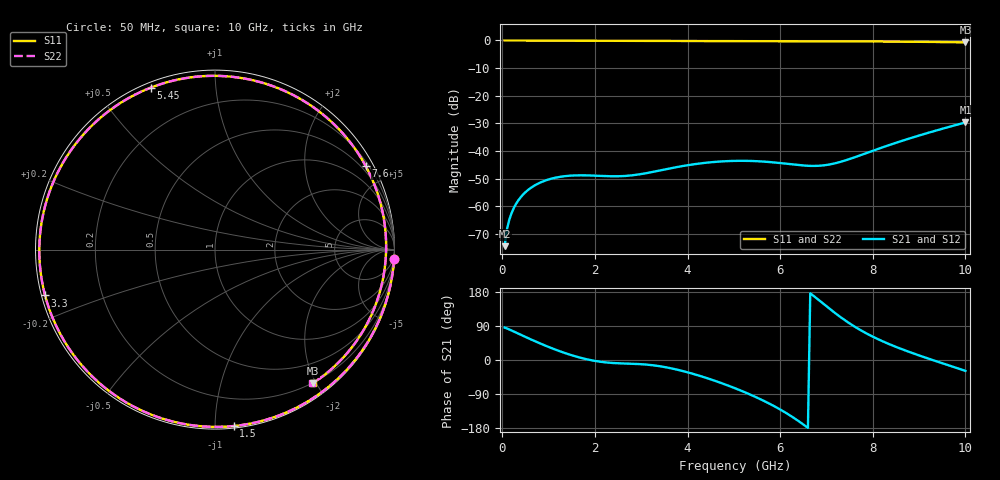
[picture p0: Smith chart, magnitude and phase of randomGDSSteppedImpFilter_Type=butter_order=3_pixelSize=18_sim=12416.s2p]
! freq	dB(S11)	phase(S11)	dB(S12)	phase(S12)
!  dB(S21)	phase(S21)	dB(S22)	phase(S22)
!S-par simulation data
#  GHz  S  DB  R 50
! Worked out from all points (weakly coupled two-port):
!   200 points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, 50 MHz to 10 GHz, reference 50 ohm
!   highest |S21| = -29.69 dB at 10 GHz (marker M1); lowest = -74.5 dB at 50 MHz (marker M2)
!   lowest |S11| = -0.7 dB at 10 GHz (marker M3), VSWR 24.80, Z = 9.77 - j97.6 ohm
!   |S11| at or under -10 dB: nowhere
!   |S22| runs from -0.7 to 0.0 dB; largest |S21 - S12| = 0
!   S11 on the Smith chart (normalised r, x): 50 MHz: 0, -40; 1.5 GHz: 0.01, -1.11; 3.3 GHz: 0.01, -0.13; 5.45 GHz: 0.02, +0.68; 7.6 GHz: 0.32, +3.84; 10 GHz: 0.20, -1.95
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0.05  -0.00 -2.9  -74.46 85.5  -74.46 85.5  -0.00 -2.9
0.1  -0.01 -5.8  -68.44 83.4  -68.44 83.4  -0.01 -5.8
0.2  -0.02 -11.7  -62.48 77.9  -62.48 77.9  -0.02 -11.7
0.45  -0.04 -26.4  -55.76 63.7  -55.76 63.7  -0.04 -26.4
0.7  -0.05 -40.8  -52.47 49.9  -52.47 49.9  -0.05 -40.8
1  -0.07 -57.5  -50.31 34.4  -50.31 34.4  -0.07 -57.5
1.5  -0.10 -84.0  -48.91 12.5  -48.91 12.5  -0.10 -84.0
1.75  -0.11 -96.5  -48.82 4.0  -48.82 4.0  -0.11 -96.5
2.15  -0.13 -115.5  -49.05 -5.1  -49.05 -5.1  -0.13 -115.5
2.55  -0.14 -133.5  -49.14 -8.9  -49.14 -8.9  -0.14 -133.5
3.3  -0.17 -164.9  -47.41 -14.6  -47.41 -14.6  -0.17 -164.9
3.4  -0.17 -168.9  -47.07 -16.4  -47.07 -16.4  -0.17 -168.9
4.2  -0.21 159.7  -44.67 -39.4  -44.67 -39.4  -0.21 159.7
5.05  -0.24 127.0  -43.58 -75.7  -43.58 -75.7  -0.24 126.9
5.45  -0.26 111.6  -43.66 -96.5  -43.66 -96.5  -0.26 111.5
6.05  -0.28 88.4  -44.48 -134.1  -44.48 -134.1  -0.28 88.4
6.7  -0.31 63.3  -45.42 171.3  -45.42 171.3  -0.31 63.2
7.1  -0.33 47.9  -44.78 132.2  -44.78 132.2  -0.33 47.9
7.6  -0.35 29.0  -42.34 88.7  -42.34 88.7  -0.35 29.0
8.35  -0.41 1.6  -37.89 42.1  -37.89 42.1  -0.41 1.6
9.1  -0.50 -24.4  -33.91 7.8  -33.91 7.8  -0.51 -24.5
10  -0.70 -53.9  -29.69 -28.6  -29.69 -28.6  -0.70 -54.0
